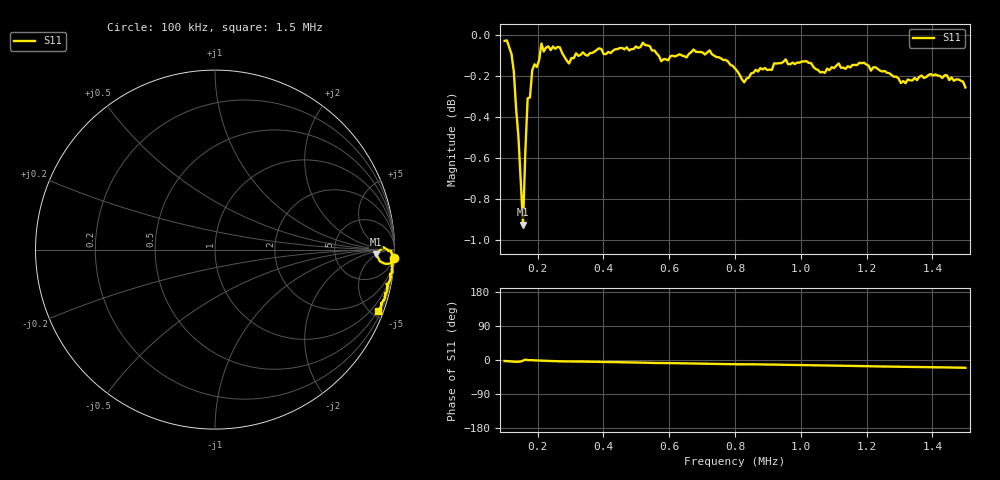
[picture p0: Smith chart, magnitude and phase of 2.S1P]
!Agilent Technologies,E5071C,MY46100305,A.07.02
!Date: Fri Jan 01 01:32:52 1988
!Data & Calibration Information:
!Freq	S11:SOLT1(ON)
# Hz S MA R 50
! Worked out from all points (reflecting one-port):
!   201 points, 100 kHz to 1.5 MHz, reference 50 ohm
!   lowest |S11| = -0.9 dB at 156 kHz (marker M1), VSWR 18.80, Z = 880 - j230 ohm
!   phase of S11 starts at -3 deg and turns -18 deg over the sweep
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100000  0.9965 -2.7
121000  0.9891 -4.0
128000  0.9795 -4.5
135000  0.9592 -4.8
149000  0.9214 -4.1
156000  0.899 -1.6
163000  0.9368 0.9
170000  0.965 -0.2
177000  0.9654 -0.5
184000  0.9803 -0.4
191000  0.9835 -1.1
198000  0.982 -1.1
212000  0.995 -1.9
275000  0.9897 -3.6
303000  0.9869 -3.6
450000  0.9925 -5.9
555000  0.9912 -7.9
625000  0.9884 -8.5
723000  0.9912 -10.0
800000  0.9812 -11.2
828000  0.9736 -11.3
856000  0.9788 -11.3
975000  0.9844 -13.0
1150000  0.9818 -15.4
1248000  0.9795 -17.1
1325000  0.9752 -17.9
1395000  0.9781 -18.8
1500000  0.9708 -20.6
